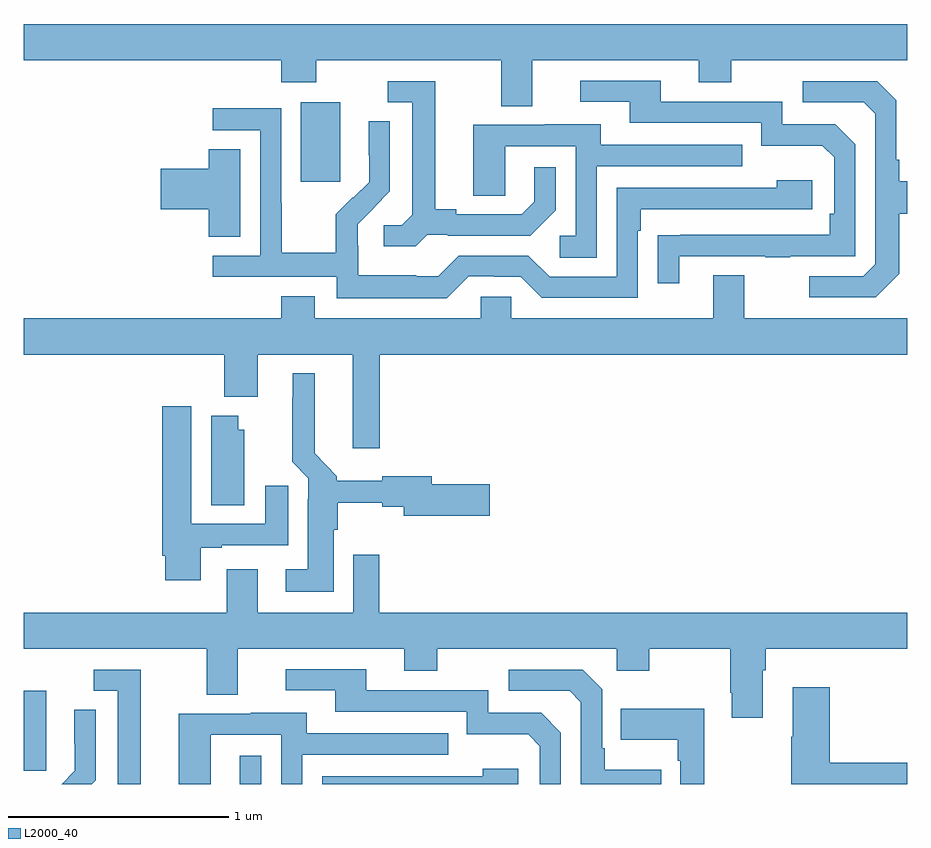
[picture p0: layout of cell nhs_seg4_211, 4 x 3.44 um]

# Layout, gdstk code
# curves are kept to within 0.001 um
import gdstk
lib = gdstk.Library(unit=1e-6, precision=1e-09)
def R(c, l, rs):  # rectangles x0, y0, x1, y1
    for r in rs: c.add(gdstk.rectangle(r[:2], r[2:], *l))
def P(c, l, *ps):  # polygons
    for p in ps: c.add(gdstk.Polygon(p, *l))
L2000_40 = (2000, 40)

nhs_seg4_211 = lib.new_cell('nhs_seg4_211')
R(nhs_seg4_211, L2000_40, [(121.979,770.9,122.076,771.028), (121,770.961,121.102,771.322), (122.255,773.625,122.434,773.986)])
P(nhs_seg4_211, L2000_40, [(123.301,774.176),(124.055,774.176),(124.055,774.077),(124.203,774.077),(124.203,774.176),(125,774.176),(125,774.34),(121,774.34),(121,774.176),(122.165,774.176),(122.165,774.077),(122.325,774.077),(122.325,774.176),(123.161,774.176),(123.161,773.968),(123.301,773.968)],
  [(123.967,773.289),(124.357,773.289),(124.357,773.284),(124.469,773.284),(124.469,773.289),(124.764,773.289),(124.764,773.796),(124.674,773.886),(124.434,773.886),(124.434,773.988),(123.883,773.988),(123.883,774.084),(123.519,774.084),(123.519,773.988),(123.743,773.988),(123.743,773.892),(124.338,773.892),(124.338,773.789),(124.615,773.789),(124.668,773.736),(124.668,773.482),(124.648,773.482),(124.648,773.385),(123.871,773.384),(123.871,773.166),(123.967,773.166)],
  [(124.963,773.209),(124.963,773.482),(125,773.482),(125,773.629),(124.963,773.629),(124.963,773.725),(124.95,773.725),(124.95,773.994),(124.863,774.081),(124.527,774.081),(124.527,773.985),(124.803,773.985),(124.854,773.934),(124.854,773.253),(124.8,773.199),(124.557,773.199),(124.557,773.103),(124.857,773.103)],
  [(122.826,773.385),(122.92,773.385),(122.92,773.382),(123.292,773.382),(123.408,773.498),(123.408,773.692),(123.311,773.692),(123.311,773.535),(123.254,773.478),(122.959,773.478),(122.959,773.501),(122.863,773.501),(122.863,774.081),(122.649,774.081),(122.649,773.985),(122.759,773.985),(122.759,773.477),(122.712,773.43),(122.631,773.43),(122.631,773.333),(122.774,773.333)],
  [(123.015,773.199),(123.131,773.199),(123.131,773.196),(123.249,773.196),(123.345,773.1),(123.78,773.1),(123.78,773.405),(123.793,773.405),(123.793,773.502),(124.57,773.502),(124.57,773.632),(124.409,773.632),(124.409,773.598),(123.684,773.598),(123.684,773.196),(123.381,773.196),(123.285,773.292),(122.97,773.292),(122.877,773.199),(122.777,773.199),(122.777,773.203),(122.514,773.203),(122.514,773.337),(122.512,773.337),(122.512,773.434),(122.658,773.582),(122.658,773.9),(122.562,773.9),(122.562,773.746),(122.564,773.746),(122.564,773.624),(122.493,773.553),(122.49,773.556),(122.413,773.479),(122.413,773.305),(122.169,773.305),(122.169,773.528),(122.166,773.528),(122.166,773.958),(121.857,773.958),(121.857,773.859),(122.07,773.859),(122.07,773.292),(121.857,773.292),(121.857,773.196),(122.418,773.196),(122.418,773.099),(122.915,773.099)],
  [(123.594,773.697),(124.253,773.697),(124.253,773.793),(123.613,773.793),(123.613,773.887),(123.359,773.887),(123.359,773.883),(123.035,773.883),(123.035,773.563),(123.18,773.563),(123.18,773.787),(123.498,773.787),(123.498,773.382),(123.426,773.382),(123.426,773.281),(123.594,773.281)],
  [(121.981,773.774),(121.838,773.774),(121.838,773.684),(121.62,773.684),(121.62,773.501),(121.838,773.501),(121.838,773.377),(121.981,773.377)],
  [(125,773.008),(124.261,773.008),(124.261,773.203),(124.121,773.203),(124.121,773.008),(123.207,773.008),(123.207,773.106),(123.069,773.106),(123.069,773.008),(122.317,773.008),(122.317,773.107),(122.165,773.107),(122.165,773.008),(121,773.008),(121,772.844),(121.907,772.844),(121.907,772.652),(122.059,772.652),(122.059,772.844),(122.489,772.844),(122.489,772.419),(122.612,772.419),(122.612,772.844),(125,772.844)],
  [(122.404,772.05),(122.422,772.05),(122.422,772.174),(122.624,772.174),(122.624,772.156),(122.72,772.156),(122.72,772.114),(123.109,772.114),(123.109,772.256),(122.848,772.256),(122.848,772.292),(122.624,772.292),(122.624,772.273),(122.418,772.273),(122.418,772.294),(122.317,772.396),(122.317,772.759),(122.219,772.759),(122.219,772.649),(122.215,772.649),(122.215,772.358),(122.289,772.284),(122.289,772.19),(122.285,772.19),(122.285,771.871),(122.187,771.871),(122.187,771.77),(122.404,771.77)],
  [(121.801,771.969),(121.897,771.969),(121.897,771.981),(122.197,771.981),(122.197,772.249),(122.093,772.249),(122.093,772.077),(121.759,772.077),(121.759,772.609),(121.628,772.609),(121.628,771.934),(121.64,771.934),(121.64,771.822),(121.801,771.822)],
  [(121.999,772.503),(121.972,772.503),(121.972,772.567),(121.85,772.567),(121.85,772.162),(121.999,772.162)],
  [(124.345,771.416),(124.358,771.416),(124.358,771.512),(125,771.512),(125,771.676),(122.609,771.676),(122.609,771.937),(122.493,771.937),(122.493,771.676),(122.059,771.676),(122.059,771.871),(121.919,771.871),(121.919,771.676),(121,771.676),(121,771.512),(121.829,771.512),(121.829,771.304),(121.969,771.304),(121.969,771.512),(122.723,771.512),(122.723,771.413),(122.871,771.413),(122.871,771.512),(123.684,771.512),(123.684,771.413),(123.831,771.413),(123.831,771.512),(124.198,771.512),(124.198,771.313),(124.205,771.313),(124.205,771.201),(124.345,771.201)],
  [(123.432,771.132),(123.342,771.222),(123.102,771.222),(123.102,771.324),(122.551,771.324),(122.551,771.42),(122.187,771.42),(122.187,771.324),(122.411,771.324),(122.411,771.228),(123.006,771.228),(123.006,771.125),(123.283,771.125),(123.336,771.072),(123.336,770.9),(123.432,770.9)],
  [(121.531,771.417),(121.317,771.417),(121.317,771.321),(121.427,771.321),(121.427,770.9),(121.531,770.9)],
  [(123.887,770.965),(123.631,770.965),(123.631,771.061),(123.618,771.061),(123.618,771.33),(123.531,771.417),(123.195,771.417),(123.195,771.321),(123.471,771.321),(123.522,771.27),(123.522,770.9),(123.887,770.9)],
  [(125,770.996),(124.649,770.996),(124.649,771.337),(124.481,771.337),(124.481,771.113),(124.474,771.113),(124.474,770.9),(125,770.9)],
  [(124.081,771.241),(123.703,771.241),(123.703,771.101),(123.96,771.101),(123.96,771.005),(123.972,771.005),(123.972,770.9),(124.081,770.9)],
  [(121.326,770.918),(121.326,771.236),(121.23,771.236),(121.23,771.082),(121.232,771.082),(121.232,770.96),(121.172,770.9),(121.308,770.9)],
  [(121.848,771.123),(122.166,771.123),(122.166,770.9),(122.262,770.9),(122.262,771.033),(122.921,771.033),(122.921,771.129),(122.281,771.129),(122.281,771.223),(122.027,771.223),(122.027,771.219),(121.703,771.219),(121.703,770.9),(121.848,770.9)],
  [(123.238,770.968),(123.077,770.968),(123.077,770.934),(122.352,770.934),(122.352,770.9),(123.238,770.9)])

lib.write_gds('nhs_seg4_211.gds')
